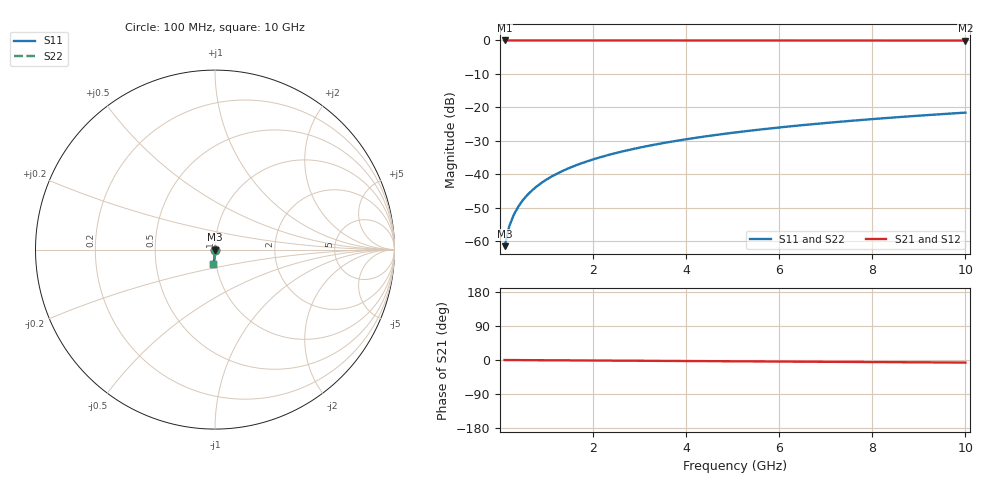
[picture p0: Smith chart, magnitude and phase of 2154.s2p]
# Hz S RI R 50.00
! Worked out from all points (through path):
!   100 points, 100 MHz to 10 GHz, reference 50 ohm
!   highest |S21| = 0.00 dB at 100 MHz (marker M1); lowest = 0.0 dB at 10 GHz (marker M2)
!   lowest |S11| = -61.5 dB at 100 MHz (marker M3), VSWR 1.00, Z = 50 - j0.0831 ohm
!   |S11| at or under -10 dB: start of sweep to end of sweep
!   |S22| runs from -61.5 to -21.6 dB; largest |S21 - S12| = 0
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1e8  0.00011 -0.00083  0.9999 -0.00118  0.9999 -0.00118  0.00011 -0.00083
2e8  0.000107 -0.00166  0.9999 -0.00236  0.9999 -0.00236  0.000107 -0.00166
3e8  0.000102 -0.00249  0.9999 -0.00354  0.9999 -0.00354  0.000102 -0.00249
4e8  9.45e-05 -0.00332  0.9999 -0.00472  0.9999 -0.00472  9.45e-05 -0.00332
5e8  8.51e-05 -0.00415  0.9999 -0.0059  0.9999 -0.0059  8.51e-05 -0.00415
6e8  7.37e-05 -0.00498  0.9998 -0.00708  0.9998 -0.00708  7.37e-05 -0.00498
7e8  6.03e-05 -0.00581  0.9998 -0.00826  0.9998 -0.00826  6.03e-05 -0.00581
8e8  4.49e-05 -0.00664  0.9998 -0.00944  0.9998 -0.00944  4.49e-05 -0.00664
9e8  2.75e-05 -0.00747  0.9998 -0.0106  0.9998 -0.0106  2.75e-05 -0.00747
1.1e9  -1.31e-05 -0.00914  0.9997 -0.013  0.9997 -0.013  -1.31e-05 -0.00914
1.4e9  -8.9e-05 -0.0116  0.9997 -0.0165  0.9997 -0.0165  -8.9e-05 -0.0116
1.8e9  -0.000218 -0.015  0.9995 -0.0213  0.9995 -0.0213  -0.000218 -0.015
2.1e9  -0.000335 -0.0174  0.9994 -0.0248  0.9994 -0.0248  -0.000335 -0.0174
2.5e9  -0.000519 -0.0208  0.9992 -0.0295  0.9992 -0.0295  -0.000519 -0.0208
2.9e9  -0.000734 -0.0241  0.999 -0.0342  0.999 -0.0342  -0.000734 -0.0241
3.4e9  -0.00105 -0.0282  0.9986 -0.0402  0.9986 -0.0402  -0.00105 -0.0282
4.2e9  -0.00165 -0.0349  0.998 -0.0496  0.998 -0.0496  -0.00165 -0.0349
5.1e9  -0.00248 -0.0424  0.9971 -0.0602  0.9971 -0.0602  -0.00248 -0.0424
5.9e9  -0.00336 -0.049  0.9962 -0.0697  0.9962 -0.0697  -0.00336 -0.049
6.7e9  -0.00436 -0.0556  0.9951 -0.0791  0.9951 -0.0791  -0.00436 -0.0556
8.4e9  -0.00691 -0.0696  0.9924 -0.0991  0.9924 -0.0991  -0.00691 -0.0696
1e10  -0.00982 -0.0827  0.9893 -0.1179  0.9893 -0.1179  -0.00982 -0.0827
